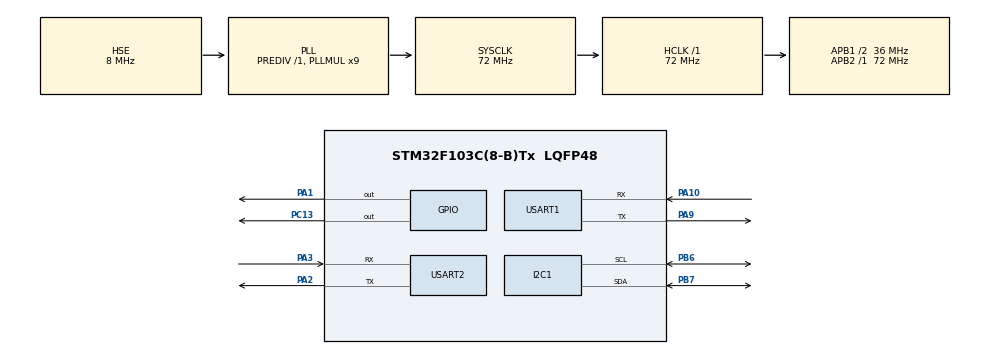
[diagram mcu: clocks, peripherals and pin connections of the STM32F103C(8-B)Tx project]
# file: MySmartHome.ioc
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FREERTOS.Tasks01=defaultTask,24,128,StartDefaultTask,Default,NULL,Dynamic,NULL,NULL
Mcu.Family=STM32F1
Mcu.Name=STM32F103C(8-B)Tx
Mcu.Package=LQFP48
NVIC.PriorityGroup=NVIC_PRIORITYGROUP_4
NVIC.TIM4_IRQn=true\:0\:0\:false\:false\:true\:false\:false\:true
NVIC.TimeBase=TIM4_IRQn
NVIC.TimeBaseIP=TIM4
PA1.GPIO_ModeDefaultOutputPP=GPIO_MODE_OUTPUT_OD
PA1.GPIO_PuPd=GPIO_PULLUP
PA1.Signal=GPIO_Output
PA10.Mode=Asynchronous
PA10.Signal=USART1_RX
PA13.Mode=Serial_Wire
PA13.Signal=SYS_JTMS-SWDIO
PA14.Mode=Serial_Wire
PA14.Signal=SYS_JTCK-SWCLK
PA2.Mode=Asynchronous
PA2.Signal=USART2_TX
PA3.Mode=Asynchronous
PA3.Signal=USART2_RX
PA9.Mode=Asynchronous
PA9.Signal=USART1_TX
PB6.Mode=I2C
PB6.Signal=I2C1_SCL
PB7.Mode=I2C
PB7.Signal=I2C1_SDA
PC13-TAMPER-RTC.Signal=GPIO_Output
PD0-OSC_IN.Mode=HSE-External-Oscillator
PD0-OSC_IN.Signal=RCC_OSC_IN
PD1-OSC_OUT.Mode=HSE-External-Oscillator
PD1-OSC_OUT.Signal=RCC_OSC_OUT
ProjectManager.HeapSize=0x200
ProjectManager.StackSize=0x400
ProjectManager.TargetToolchain=MDK-ARM V5.27
RCC.AHBFreq_Value=72000000
RCC.APB1CLKDivider=RCC_HCLK_DIV2
RCC.APB1Freq_Value=36000000
RCC.APB1TimFreq_Value=72000000
RCC.APB2Freq_Value=72000000
RCC.APB2TimFreq_Value=72000000
RCC.HCLKFreq_Value=72000000
RCC.PLLMUL=RCC_PLL_MUL9
RCC.PLLSourceVirtual=RCC_PLLSOURCE_HSE
RCC.SYSCLKFreq_VALUE=72000000
RCC.SYSCLKSource=RCC_SYSCLKSOURCE_PLLCLK
RCC.USBFreq_Value=72000000
USART1.VirtualMode=VM_ASYNC
USART2.VirtualMode=VM_ASYNC
VP_FREERTOS_VS_CMSIS_V2.Mode=CMSIS_V2
VP_SYS_VS_tim4.Mode=TIM4
board=custom

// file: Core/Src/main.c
/* USER CODE BEGIN Header */
/**
  ******************************************************************************
  * @file           : main.c
  * @brief          : Main program body
  ******************************************************************************
  * @attention
  *
  * <h2><center>&copy; Copyright (c) 2023 STMicroelectronics.
  * All rights reserved.</center></h2>
  *
  * This software component is licensed by ST under BSD 3-Clause license,
  * the "License"; You may not use this file except in compliance with the
  * License. You may obtain a copy of the License at:
  *                        opensource.org/licenses/BSD-3-Clause
  *
  ******************************************************************************
  */
/* USER CODE END Header */
#include "main.h"
#include "cmsis_os.h"
#include "i2c.h"
#include "usart.h"
#include "gpio.h"

/* USER CODE BEGIN Includes */

#include "main.h"
#include "driver_led.h"
#include <stdio.h>
#include <string.h>
#include "driver_key.h"
#include "driver_uart.h"
# include "driver_buffer.h"
#include "driver_net.h"
#include "driver_oled.h"
#include "driver_i2c.h"
#include "driver_dht11.h"
#include "driver_lcd.h"
#include "platform_io.h"
#include "FreeRTOS.h"
#include "task.h"
#include <dev_io.h>
#include <dev_net.h>

/* USER CODE END Includes */

void SystemClock_Config(void);
void MX_FREERTOS_Init(void);
/* USER CODE BEGIN PFP */
extern void vStartMQTTTasks(uint16_t usTaskStackSize, UBaseType_t uxTaskPriority);
/* USER CODE END PFP */

int main(void)
{

  /* MCU Configuration--------------------------------------------------------*/

  /* Reset of all peripherals, Initializes the Flash interface and the Systick. */
  HAL_Init();

  /* Configure the system clock */
  SystemClock_Config();

  /* Initialize all configured peripherals */
  MX_GPIO_Init();
  MX_USART1_UART_Init();
  MX_USART2_UART_Init();
  MX_I2C1_Init();
  /* USER CODE BEGIN 2 */
//  uint8_t buf[5] = {0};
//  uint32_t count = 0;
//  KeyEvent nKeyEvent = {0};

    ptIODev dbgoutDev = NULL;
    dbgoutDev = IODev_GetDev(DBGOUT);
    if(dbgoutDev != NULL)
        dbgoutDev->Init(dbgoutDev);

    vStartMQTTTasks(512, 10);
    vTaskStartScheduler();

    LED_Init();
    Key_Init();
    Net_Init();

    DHT11_Init();
    OLED_Init();
    OLED_Clear();

    printf("Hello World.\r\n");
#if 0
    if(Net_ConnectWiFi("Programmers", "100asktech", 10000) == 0)
    {
        printf("Connect WIFi successed.\r\n");
    }
    else
    {
        printf("Connect WIFi failed.\r\n");
    }

    if(Net_ConnectTCP("192.168.0.187", 8080, 1000) == 0)
    {
        printf("Connect TCP successed.\r\n");
    }
    else
    {
        printf("Connect TCP failed.\r\n");
    }
#endif
  /* USER CODE END 2 */

  /* Init scheduler */
  osKernelInitialize();  /* Call init function for freertos objects (in freertos.c) */
  MX_FREERTOS_Init();
  /* Start scheduler */
  osKernelStart();

  /* We should never get here as control is now taken by the scheduler */
  /* Infinite loop */
  while (1)
  {

}
}

void SystemClock_Config(void)
{
  RCC_OscInitTypeDef RCC_OscInitStruct = {0};
  RCC_ClkInitTypeDef RCC_ClkInitStruct = {0};

  /** Initializes the RCC Oscillators according to the specified parameters
  * in the RCC_OscInitTypeDef structure.
  */
  RCC_OscInitStruct.OscillatorType = RCC_OSCILLATORTYPE_HSE;
  RCC_OscInitStruct.HSEState = RCC_HSE_ON;
  RCC_OscInitStruct.HSEPredivValue = RCC_HSE_PREDIV_DIV1;
  RCC_OscInitStruct.HSIState = RCC_HSI_ON;
  RCC_OscInitStruct.PLL.PLLState = RCC_PLL_ON;
  RCC_OscInitStruct.PLL.PLLSource = RCC_PLLSOURCE_HSE;
  RCC_OscInitStruct.PLL.PLLMUL = RCC_PLL_MUL9;
  if (HAL_RCC_OscConfig(&RCC_OscInitStruct) != HAL_OK)
  {
    Error_Handler();
  }
  /** Initializes the CPU, AHB and APB buses clocks
  */
  RCC_ClkInitStruct.ClockType = RCC_CLOCKTYPE_HCLK|RCC_CLOCKTYPE_SYSCLK
                              |RCC_CLOCKTYPE_PCLK1|RCC_CLOCKTYPE_PCLK2;
  RCC_ClkInitStruct.SYSCLKSource = RCC_SYSCLKSOURCE_PLLCLK;
  RCC_ClkInitStruct.AHBCLKDivider = RCC_SYSCLK_DIV1;
  RCC_ClkInitStruct.APB1CLKDivider = RCC_HCLK_DIV2;
  RCC_ClkInitStruct.APB2CLKDivider = RCC_HCLK_DIV1;

  if (HAL_RCC_ClockConfig(&RCC_ClkInitStruct, FLASH_LATENCY_2) != HAL_OK)
  {
    Error_Handler();
  }
}

void HAL_TIM_PeriodElapsedCallback(TIM_HandleTypeDef *htim)
{
  if (htim->Instance == TIM4) {
    HAL_IncTick();
  }
}

void Error_Handler(void)
{
}

/************************ (C) COPYRIGHT STMicroelectronics *****END OF FILE****/

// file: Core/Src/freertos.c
/* USER CODE BEGIN Header */
/**
  ******************************************************************************
  * File Name          : freertos.c
  * Description        : Code for freertos applications
  ******************************************************************************
  * @attention
  *
  * <h2><center>&copy; Copyright (c) 2023 STMicroelectronics.
  * All rights reserved.</center></h2>
  *
  * This software component is licensed by ST under Ultimate Liberty license
  * SLA0044, the "License"; You may not use this file except in compliance with
  * the License. You may obtain a copy of the License at:
  *                             www.st.com/SLA0044
  *
  ******************************************************************************
  */
/* USER CODE END Header */

#include "FreeRTOS.h"
#include "task.h"
#include "main.h"
#include "cmsis_os.h"
#include "driver_lcd.h"
#include "driver_dht11.h"

/* Definitions for defaultTask */
osThreadId_t defaultTaskHandle;
const osThreadAttr_t defaultTask_attributes = {
  .name = "defaultTask",
  .priority = (osPriority_t) osPriorityNormal,
  .stack_size = 128 * 4
};

void StartDefaultTask(void *argument);

void MX_FREERTOS_Init(void); /* (MISRA C 2004 rule 8.1) */

void MX_FREERTOS_Init(void) {

  /* Create the thread(s) */
  /* creation of defaultTask */
  defaultTaskHandle = osThreadNew(StartDefaultTask, NULL, &defaultTask_attributes);

}

void StartDefaultTask(void *argument)
{
  /* USER CODE BEGIN StartDefaultTask */
  /* Infinite loop */
    LCD_Init();
    LCD_Clear();

  for(;;)
  {
    //Led_Test();
    //LCD_Test();
    //MPU6050_Test();
    //DS18B20_Test();
    DHT11_Test();
    //ActiveBuzzer_Test();
    //PassiveBuzzer_Test();
    //ColorLED_Test();
    //IRReceiver_Test();
    //IRSender_Test();
    //LightSensor_Test();
    //Obstacle_Test();
    //SR04_Test();
    //W25Q64_Test();
    //RotaryEncoder_Test();
    //Motor_Test();
    //Key_Test();
    //UART_Test();
  }
  /* USER CODE END StartDefaultTask */
}

/************************ (C) COPYRIGHT STMicroelectronics *****END OF FILE****/
